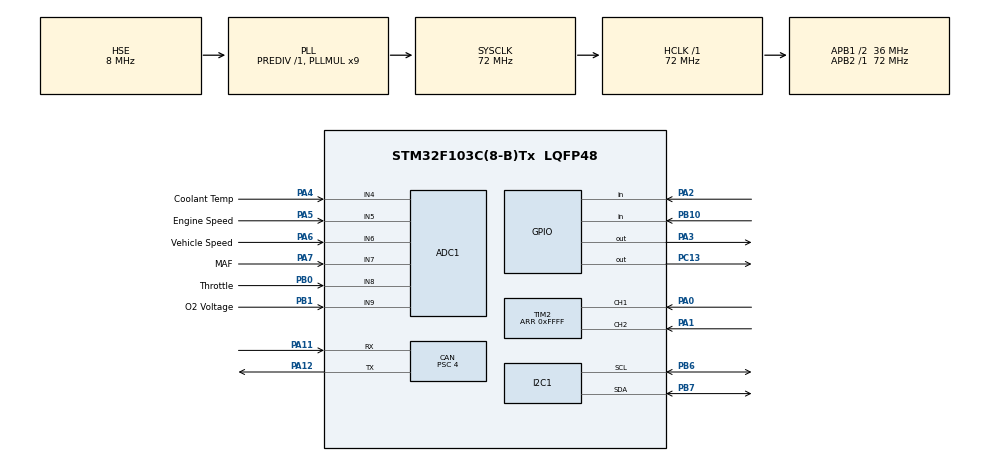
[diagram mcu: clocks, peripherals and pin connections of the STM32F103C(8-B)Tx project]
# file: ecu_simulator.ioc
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ADC1.Channel-0\#ChannelRegularConversion=ADC_CHANNEL_4
ADC1.Channel-1\#ChannelRegularConversion=ADC_CHANNEL_5
ADC1.Channel-2\#ChannelRegularConversion=ADC_CHANNEL_6
ADC1.Channel-3\#ChannelRegularConversion=ADC_CHANNEL_7
ADC1.Channel-4\#ChannelRegularConversion=ADC_CHANNEL_8
ADC1.Channel-5\#ChannelRegularConversion=ADC_CHANNEL_9
ADC1.NbrOfConversion=6
ADC1.NbrOfConversionFlag=1
ADC1.Rank-0\#ChannelRegularConversion=1
ADC1.Rank-1\#ChannelRegularConversion=2
ADC1.Rank-2\#ChannelRegularConversion=3
ADC1.Rank-3\#ChannelRegularConversion=4
ADC1.Rank-4\#ChannelRegularConversion=5
ADC1.Rank-5\#ChannelRegularConversion=6
ADC1.SamplingTime-0\#ChannelRegularConversion=ADC_SAMPLETIME_239CYCLES_5
ADC1.SamplingTime-1\#ChannelRegularConversion=ADC_SAMPLETIME_239CYCLES_5
ADC1.SamplingTime-2\#ChannelRegularConversion=ADC_SAMPLETIME_239CYCLES_5
ADC1.SamplingTime-3\#ChannelRegularConversion=ADC_SAMPLETIME_239CYCLES_5
ADC1.SamplingTime-4\#ChannelRegularConversion=ADC_SAMPLETIME_239CYCLES_5
ADC1.SamplingTime-5\#ChannelRegularConversion=ADC_SAMPLETIME_239CYCLES_5
ADC1.master=1
CAN.BS1=CAN_BS1_15TQ
CAN.BS2=CAN_BS2_2TQ
CAN.CalculateBaudRate=500000
CAN.CalculateTimeBit=2000
CAN.CalculateTimeQuantum=111.11111111111111
CAN.Prescaler=4
Dma.ADC1.0.Direction=DMA_PERIPH_TO_MEMORY
Dma.ADC1.0.Instance=DMA1_Channel1
Dma.ADC1.0.MemDataAlignment=DMA_MDATAALIGN_HALFWORD
Dma.ADC1.0.MemInc=DMA_MINC_ENABLE
Dma.ADC1.0.Mode=DMA_CIRCULAR
Dma.ADC1.0.PeriphDataAlignment=DMA_PDATAALIGN_HALFWORD
Dma.ADC1.0.PeriphInc=DMA_PINC_DISABLE
Dma.ADC1.0.Priority=DMA_PRIORITY_LOW
Dma.Request0=ADC1
Mcu.Family=STM32F1
Mcu.Name=STM32F103C(8-B)Tx
Mcu.Package=LQFP48
NVIC.DMA1_Channel1_IRQn=true\:0\:0\:false\:false\:true\:false\:true\:true
NVIC.PriorityGroup=NVIC_PRIORITYGROUP_4
NVIC.TIM2_IRQn=true\:0\:0\:false\:false\:true\:true\:true\:true
NVIC.USB_LP_CAN1_RX0_IRQn=true\:0\:0\:false\:false\:true\:true\:true\:true
PA0-WKUP.GPIO_PuPd=GPIO_NOPULL
PA0-WKUP.Signal=S_TIM2_CH1_ETR
PA1.GPIO_Mode=GPIO_MODE_INPUT
PA1.GPIO_PuPd=GPIO_NOPULL
PA1.Signal=S_TIM2_CH2
PA11.Mode=CAN_Activate
PA11.Signal=CAN_RX
PA12.Mode=CAN_Activate
PA12.Signal=CAN_TX
PA13.Mode=Serial_Wire
PA13.Signal=SYS_JTMS-SWDIO
PA14.Mode=Serial_Wire
PA14.Signal=SYS_JTCK-SWCLK
PA2.Signal=GPIO_Input
PA3.Signal=GPIO_Output
PA4.GPIO_Label=Coolant Temp
PA4.Signal=ADCx_IN4
PA5.GPIO_Label=Engine Speed
PA5.Signal=ADCx_IN5
PA6.GPIO_Label=Vehicle Speed
PA6.Signal=ADCx_IN6
PA7.GPIO_Label=MAF
PA7.Signal=ADCx_IN7
PB0.GPIO_Label=Throttle
PB0.Signal=ADCx_IN8
PB1.GPIO_Label=O2 Voltage
PB1.Signal=ADCx_IN9
PB10.GPIO_PuPd=GPIO_PULLUP
PB10.Signal=GPIO_Input
PB6.Mode=I2C
PB6.Signal=I2C1_SCL
PB7.Mode=I2C
PB7.Signal=I2C1_SDA
PC13-TAMPER-RTC.Signal=GPIO_Output
PD0-OSC_IN.Mode=HSE-External-Oscillator
PD0-OSC_IN.Signal=RCC_OSC_IN
PD1-OSC_OUT.Mode=HSE-External-Oscillator
PD1-OSC_OUT.Signal=RCC_OSC_OUT
ProjectManager.HeapSize=0x200
ProjectManager.StackSize=0x400
ProjectManager.TargetToolchain=STM32CubeIDE
RCC.ADCPresc=RCC_ADCPCLK2_DIV8
RCC.AHBFreq_Value=72000000
RCC.APB1CLKDivider=RCC_HCLK_DIV2
RCC.APB1Freq_Value=36000000
RCC.APB1TimFreq_Value=72000000
RCC.APB2Freq_Value=72000000
RCC.APB2TimFreq_Value=72000000
RCC.HCLKFreq_Value=72000000
RCC.PLLMUL=RCC_PLL_MUL9
RCC.PLLSourceVirtual=RCC_PLLSOURCE_HSE
RCC.SYSCLKFreq_VALUE=72000000
RCC.SYSCLKSource=RCC_SYSCLKSOURCE_PLLCLK
RCC.USBFreq_Value=72000000
SH.ADCx_IN4.0=ADC1_IN4,IN4
SH.ADCx_IN5.0=ADC1_IN5,IN5
SH.ADCx_IN6.0=ADC1_IN6,IN6
SH.ADCx_IN7.0=ADC1_IN7,IN7
SH.ADCx_IN8.0=ADC1_IN8,IN8
SH.ADCx_IN9.0=ADC1_IN9,IN9
SH.S_TIM2_CH1_ETR.0=TIM2_CH1,Encoder_Interface
SH.S_TIM2_CH2.0=TIM2_CH2,Encoder_Interface
TIM2.AutoReloadPreload=TIM_AUTORELOAD_PRELOAD_DISABLE
TIM2.EncoderMode=TIM_ENCODERMODE_TI12
TIM2.IC1Filter=10
TIM2.IC1Polarity=TIM_ICPOLARITY_RISING
TIM2.IC2Filter=0
TIM2.IC2Polarity=TIM_ICPOLARITY_RISING
TIM2.Period=0xFFFF
board=custom

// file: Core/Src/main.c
/* USER CODE BEGIN Header */
/**
 ******************************************************************************
 * @file           : main.c
 * @brief          : Main program body
 ******************************************************************************
 * @attention
 *
 * Copyright (c) 2024 STMicroelectronics.
 * All rights reserved.
 *
 * This software is licensed under terms that can be found in the LICENSE file
 * in the root directory of this software component.
 * If no LICENSE file comes with this software, it is provided AS-IS.
 *
 ******************************************************************************
 */
/* USER CODE END Header */
#include "main.h"
#include "adc.h"
#include "can.h"
#include "dma.h"
#include "i2c.h"
#include "tim.h"
#include "gpio.h"

/* USER CODE BEGIN Includes */
#include "obd.h"
#include "lcd_i2c.h"
/* USER CODE END Includes */

/* USER CODE BEGIN PV */
uint8_t TxData[8];
uint8_t RxData[8];
uint32_t TxMailbox;

extern uint16_t adcScanValue[6];
extern uint8_t adcConvCompleted;

extern int obd2_check;
extern OBD2Data obd2_data;
extern uint16_t encoder_count;
extern int32_t menuMainCnt;
extern uint8_t stateMenu;
/* USER CODE END PV */

void SystemClock_Config(void);

int main(void)
{

  /* MCU Configuration--------------------------------------------------------*/

  /* Reset of all peripherals, Initializes the Flash interface and the Systick. */
  HAL_Init();

  /* Configure the system clock */
  SystemClock_Config();

  /* Initialize all configured peripherals */
  MX_GPIO_Init();
  MX_DMA_Init();
  MX_CAN_Init();
  MX_ADC1_Init();
  MX_I2C1_Init();
  MX_TIM2_Init();
  /* USER CODE BEGIN 2 */
  HAL_GPIO_WritePin(GPIOC, GPIO_PIN_13, 1);

  CAN_FilterConfig();
  HAL_CAN_Start(&hcan);
  HAL_CAN_ActivateNotification(&hcan, CAN_IT_RX_FIFO0_MSG_PENDING); /* Enable interrupts, FIFO 0 message pending interrupt */

  HAL_ADC_Start_DMA(&hadc1, (uint32_t *)adcScanValue, 6);
  HAL_TIM_Encoder_Start_IT(&htim2, TIM_CHANNEL_ALL);

  LCD_Init();
  LCD_Clear_Display();
  HAL_Delay(20);
  LCD_Goto_XY(0, 0);
  LCD_Send_String("Capstone Project");
  LCD_Goto_XY(1, 0);
  LCD_Send_String(" ECU Simulator");
  HAL_Delay(2000);
  LCD_Clear_Display();
  HAL_Delay(20);
  update_menu(menuMainCnt);
  /* USER CODE END 2 */

  /* Infinite loop */
  /* USER CODE BEGIN WHILE */
  while (1)
  {
    HAL_ADC_Start_DMA(&hadc1, (uint32_t *)adcScanValue, 6);
    while (!adcConvCompleted);
    adcConvCompleted = 0;
    ecu_scale_analog_value();

    if (stateMenu == 0)
    {
      loop_menu();
    }
    else if (stateMenu == 1)
    {
      setting_value(menuMainCnt);
    }
    HAL_Delay(50);
    /* USER CODE END WHILE */

  }
}

void SystemClock_Config(void)
{
  RCC_OscInitTypeDef RCC_OscInitStruct = {0};
  RCC_ClkInitTypeDef RCC_ClkInitStruct = {0};
  RCC_PeriphCLKInitTypeDef PeriphClkInit = {0};

  /** Initializes the RCC Oscillators according to the specified parameters
   * in the RCC_OscInitTypeDef structure.
   */
  RCC_OscInitStruct.OscillatorType = RCC_OSCILLATORTYPE_HSE;
  RCC_OscInitStruct.HSEState = RCC_HSE_ON;
  RCC_OscInitStruct.HSEPredivValue = RCC_HSE_PREDIV_DIV1;
  RCC_OscInitStruct.HSIState = RCC_HSI_ON;
  RCC_OscInitStruct.PLL.PLLState = RCC_PLL_ON;
  RCC_OscInitStruct.PLL.PLLSource = RCC_PLLSOURCE_HSE;
  RCC_OscInitStruct.PLL.PLLMUL = RCC_PLL_MUL9;
  if (HAL_RCC_OscConfig(&RCC_OscInitStruct) != HAL_OK)
  {
    Error_Handler();
  }

  /** Initializes the CPU, AHB and APB buses clocks
   */
  RCC_ClkInitStruct.ClockType = RCC_CLOCKTYPE_HCLK | RCC_CLOCKTYPE_SYSCLK | RCC_CLOCKTYPE_PCLK1 | RCC_CLOCKTYPE_PCLK2;
  RCC_ClkInitStruct.SYSCLKSource = RCC_SYSCLKSOURCE_PLLCLK;
  RCC_ClkInitStruct.AHBCLKDivider = RCC_SYSCLK_DIV1;
  RCC_ClkInitStruct.APB1CLKDivider = RCC_HCLK_DIV2;
  RCC_ClkInitStruct.APB2CLKDivider = RCC_HCLK_DIV1;

  if (HAL_RCC_ClockConfig(&RCC_ClkInitStruct, FLASH_LATENCY_2) != HAL_OK)
  {
    Error_Handler();
  }
  PeriphClkInit.PeriphClockSelection = RCC_PERIPHCLK_ADC;
  PeriphClkInit.AdcClockSelection = RCC_ADCPCLK2_DIV8;
  if (HAL_RCCEx_PeriphCLKConfig(&PeriphClkInit) != HAL_OK)
  {
    Error_Handler();
  }
}

void Error_Handler(void)
{
  __disable_irq();
  while (1)
  {
  }
}
